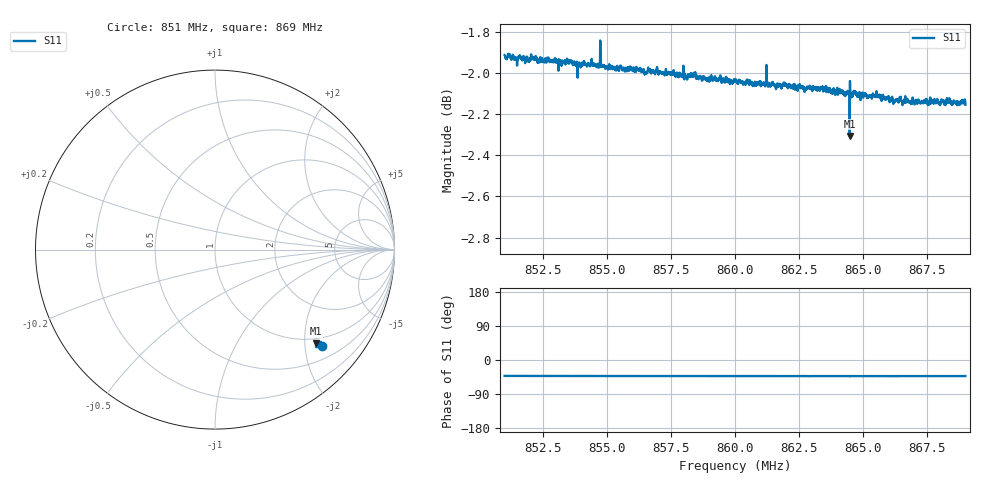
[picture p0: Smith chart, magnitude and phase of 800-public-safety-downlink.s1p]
! Calibrated averaged scanner-service zoom
# Hz S RI R 50
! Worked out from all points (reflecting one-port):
!   2001 points, 851 MHz to 869 MHz, reference 50 ohm
!   lowest |S11| = -2.3 dB at 864.48 MHz (marker M1), VSWR 7.58, Z = 44.2 - j112 ohm
!   phase of S11 starts at -42 deg and turns -0 deg over the sweep
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8.51e8  0.5971 -0.5358
8.51873e8  0.596 -0.5361
8.52053e8  0.5939 -0.5379
8.52359e8  0.5937 -0.5363
8.52998e8  0.5928 -0.5364
8.5325e8  0.5924 -0.5358
8.53547e8  0.5924 -0.5376
8.53925e8  0.592 -0.5357
8.54663e8  0.5909 -0.5358
8.54861e8  0.5894 -0.5367
8.555e8  0.5896 -0.536
8.5775e8  0.5861 -0.5348
8.6e8  0.5834 -0.5342
8.60333e8  0.5832 -0.5328
8.60522e8  0.5819 -0.5338
8.60648e8  0.5832 -0.533
8.61098e8  0.5814 -0.5338
8.61269e8  0.5829 -0.5325
8.6225e8  0.5807 -0.5321
8.63411e8  0.5808 -0.5322
8.64482e8  0.5607 -0.523
8.645e8  0.5797 -0.5307
8.64698e8  0.579 -0.5314
8.64851e8  0.5793 -0.5297
8.65598e8  0.5784 -0.5302
8.66255e8  0.5763 -0.529
8.6675e8  0.5771 -0.5278
8.69e8  0.5765 -0.5259
